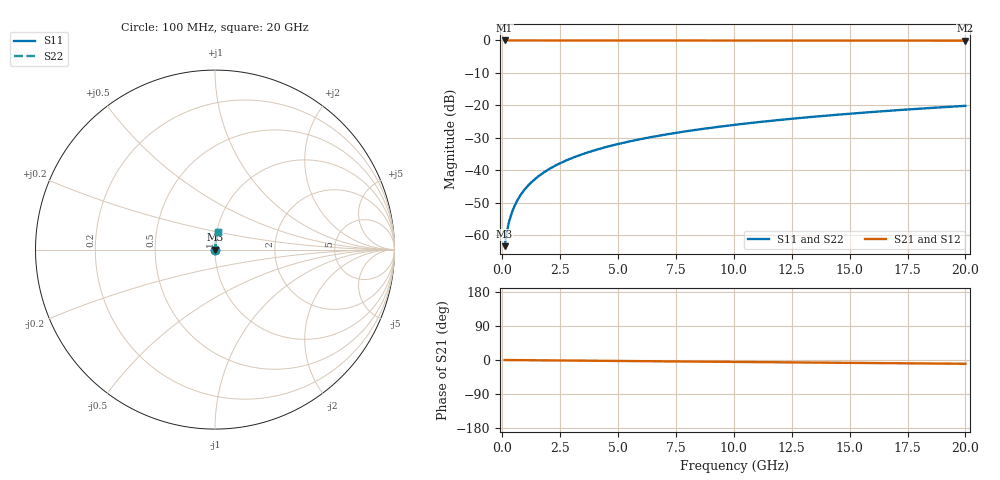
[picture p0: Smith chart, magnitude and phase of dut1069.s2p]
! Touchstone file exported from HFSS 2026.1.0
!  File:  C:/ffzhzh/LocalFiles/Ansys_Project_Files/temp_train_TSV_1069_1783189891_18472.aedt
!  Generated:  02:33:23 AM Jul  5, 2026
!  Design:  TSV
!  Project:  temp_train_TSV_1069_1783189891_18472
! Variables:
!  h_bsmrdl = 2um
!  h_ox = 20um
!  h_rdl = 5um
!  h_sub = 77.61um
!  h_tmrdl = 5um
!  h_tsv = 77.61um
!  h_via = 3um
!  l_bsmrdl = 300um
!  l_sub = 409.5um
!  l_tmrdl = 200um
!  m_sub = 200um
!  pitch = 51.9um
!  r_tsv = 4.75um
!  s_tmrdl = 10um
!  w_bsmrdl = 18um
!  w_sub = 500um
!  w_tmrdl = 12um
!  x_tsv_center1 = 206um
!  x_tsv_center2 = 524um
!  x_tsv_center3 = 736um
!  x_tsv_center4 = 1054um
!  x_tsv_center5 = 1266um
!  x_tsv_center6 = 1584um
# GHz S MA R 50.000000
! Terminal data exported
! Port[1] = TSV1_1_T1
! Port[2] = TSV1_1_T2
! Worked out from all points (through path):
!   200 points, 100 MHz to 20 GHz, reference 50 ohm
!   highest |S21| = 0.00 dB at 100 MHz (marker M1); lowest = -0.1 dB at 20 GHz (marker M2)
!   group delay of S21, straight-line fit = 1.39 ps
!   lowest |S11| = -63.3 dB at 100 MHz (marker M3), VSWR 1.00, Z = 50 + j0.0536 ohm
!   |S11| at or under -10 dB: start of sweep to end of sweep
!   |S22| runs from -63.3 to -20.1 dB; largest |S21 - S12| = 2.3e-15
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0.1  0.0006836 51.6  0.9996 -0.1  0.9996 -0.1  0.0006836 51.6
! Gamma 0 0 0 0
! Port Impedance 50 0 50 0
0.2  0.001154 67.9  0.9996 -0.1  0.9996 -0.1  0.001154 67.9
0.3  0.001661 74.3  0.9996 -0.2  0.9996 -0.2  0.001661 74.3
0.4  0.002176 77.6  0.9995 -0.2  0.9995 -0.2  0.002176 77.6
0.5  0.002691 79.6  0.9995 -0.3  0.9995 -0.3  0.002691 79.6
0.7  0.00372 81.9  0.9995 -0.4  0.9995 -0.4  0.00372 81.9
0.8  0.004234 82.6  0.9995 -0.4  0.9995 -0.4  0.004234 82.6
1  0.00526 83.6  0.9994 -0.5  0.9994 -0.5  0.00526 83.6
1.2  0.006285 84.2  0.9994 -0.6  0.9994 -0.6  0.006285 84.2
1.4  0.007309 84.7  0.9994 -0.7  0.9994 -0.7  0.007309 84.7
1.7  0.008844 85.1  0.9993 -0.9  0.9993 -0.9  0.008844 85.1
2  0.01038 85.3  0.9993 -1.0  0.9993 -1.0  0.01038 85.3
2.7  0.01394 85.5  0.9991 -1.4  0.9991 -1.4  0.01394 85.5
3.5  0.01798 85.5  0.999 -1.8  0.999 -1.8  0.01798 85.5
4.2  0.0215 85.3  0.9988 -2.1  0.9988 -2.1  0.0215 85.3
5  0.02549 85.1  0.9986 -2.5  0.9986 -2.5  0.02549 85.1
6.8  0.03442 84.4  0.9981 -3.4  0.9981 -3.4  0.03442 84.4
8.3  0.04182 83.9  0.9977 -4.2  0.9977 -4.2  0.04182 83.9
10.1  0.05066 83.2  0.9972 -5.1  0.9972 -5.1  0.05066 83.2
13.4  0.06679 81.8  0.996 -6.7  0.996 -6.7  0.06679 81.8
16.7  0.08278 80.3  0.9946 -8.4  0.9946 -8.4  0.08278 80.3
20  0.09862 78.7  0.993 -10.0  0.993 -10.0  0.09862 78.7
